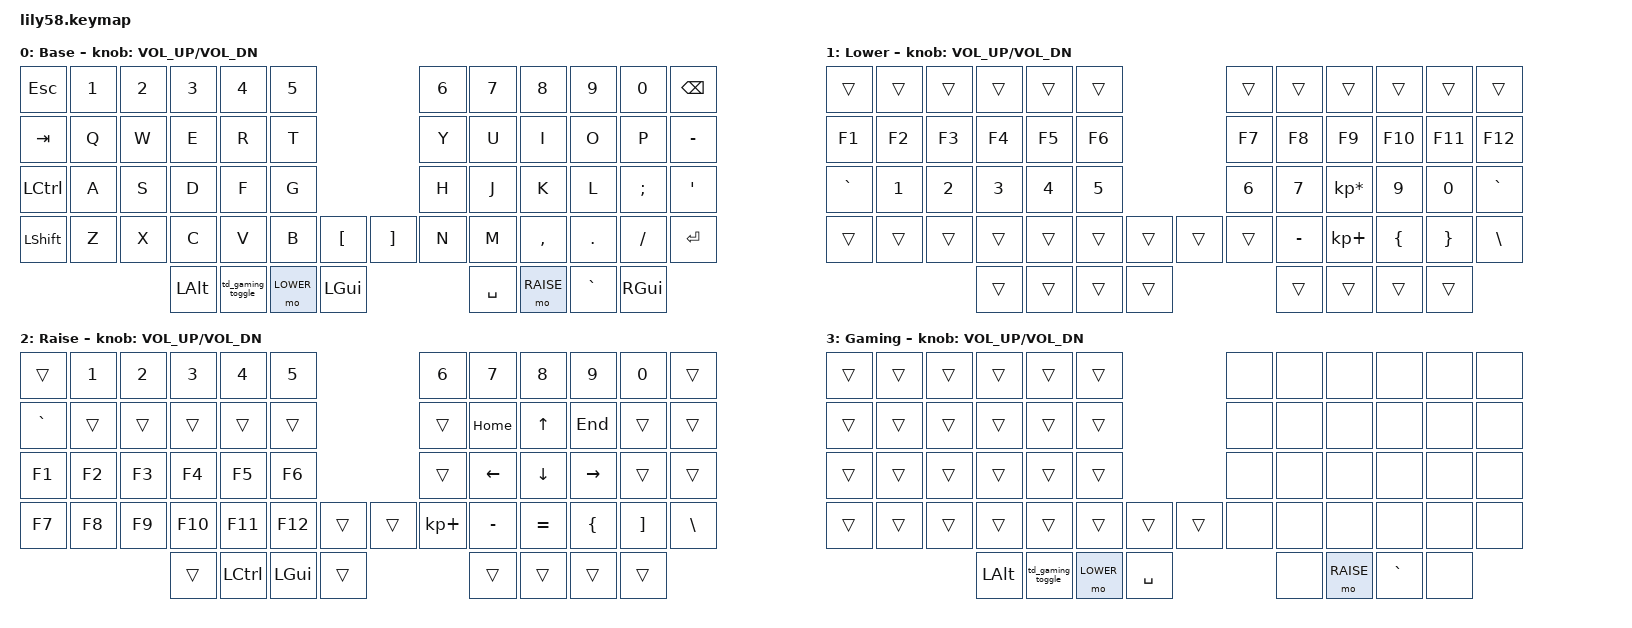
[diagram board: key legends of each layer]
/*
 * Copyright (c) 2020 The ZMK Contributors
 *
 * SPDX-License-Identifier: MIT
 */

#include <behaviors.dtsi>
#include <dt-bindings/zmk/bt.h>
#include <dt-bindings/zmk/keys.h>

#define BASE    0
#define LOWER   1
#define RAISE   2
#define GAMING  3

/ {
    behaviors {
        td_gaming_toggle: gaming_toggle_tap_dance {
            compatible = "zmk,behavior-tap-dance";
            #binding-cells = <0>;
            tapping-term-ms = <400>;
            bindings = <&none>, <&tog 3>;
        };
    };

    combos {
        compatible = "zmk,combos";

        // Lower + GUI: both left-thumb keys (central half, no split delay)
        combo_gaming_toggle {
            timeout-ms = <500>;
            key-positions = <52 53>;
            bindings = <&tog 3>;
        };
    };

    keymap {
        compatible = "zmk,keymap";

        default_layer {
            // ------------------------------------------------------------------------------------------------------------
            // |  ESC  |  1  |  2  |  3   |  4   |  5   |                   |  6   |  7    |  8    |  9   |   0   | BkSp  |
            // |  TAB  |  Q  |  W  |  E   |  R   |  T   |                   |  Y   |  U    |  I    |  O   |   P   |   -   |
            // |  CTRL |  A  |  S  |  D   |  F   |  G   |                   |  H   |  J    |  K    |  L   |   ;   |   '   |
            // |  SHFT |  Z  |  X  |  C   |  V   |  B   |   {    |    }   |  N   |  M    |  ,    |  .   |   /   |  RET  |
            //                     | ALT  | G×2  | Lower|  CMD   |  | SPACE | Raise |   ~   |  GUI  |

            display-name = "Base";
            bindings = <
&kp ESC    &kp N1  &kp N2  &kp N3    &kp N4    &kp N5                          &kp N6  &kp N7     &kp N8     &kp N9   &kp N0    &kp BACKSPACE
&kp TAB    &kp Q   &kp W   &kp E     &kp R     &kp T                           &kp Y   &kp U      &kp I      &kp O    &kp P     &kp MINUS
&kp LCTRL  &kp A   &kp S   &kp D     &kp F     &kp G                           &kp H   &kp J      &kp K      &kp L    &kp SEMI  &kp SQT
&kp LSHFT  &kp Z   &kp X   &kp C     &kp V     &kp B   &kp LBKT     &kp RBKT   &kp N   &kp M      &kp COMMA  &kp DOT  &kp FSLH  &kp RET
                           &kp LALT  &td_gaming_toggle  &mo LOWER   &kp LGUI     &kp SPACE  &mo RAISE   &kp GRAVE  &kp RGUI
            >;

            sensor-bindings = <&inc_dec_kp C_VOL_UP C_VOL_DN>;
        };

        lower_layer {
            // ------------------------------------------------------------------------------------------------------------
            // |       |     |     |      |      |      |                   |      |       |       |      |       |       |
            // |  F1   |  F2 |  F3 |  F4  |  F5  |  F6  |                   |  F7  |  F8   |  F9   |  F10 |  F11  |  F12  |
            // |   `   |  1  |  2  |  3   |  4   |  5   |                   |  6   |  7    |   *   |  9   |   0   |   `   |
            // |       |     |     |      |      |      |        |  |       |      |   -   |   +   |  {   |   }   |   \   |
            //                     |      |      |      |        |  |       |      |       |       |

            display-name = "Lower";
            bindings = <
&trans     &trans  &trans  &trans   &trans   &trans                     &trans       &trans     &trans     &trans    &trans     &trans
&kp F1     &kp F2  &kp F3  &kp F4   &kp F5   &kp F6                     &kp F7       &kp F8     &kp F9     &kp F10   &kp F11    &kp F12
&kp GRAVE  &kp N1  &kp N2  &kp N3   &kp N4   &kp N5                     &kp N6       &kp N7     &kp KP_MULTIPLY &kp N9 &kp N0  &kp GRAVE
&trans     &trans  &trans  &trans   &trans   &trans    &trans    &trans &trans       &kp MINUS  &kp KP_PLUS &kp LBRC &kp RBRC   &kp BSLH
                           &trans   &trans   &trans   &trans    &trans  &trans       &trans     &trans
            >;

            sensor-bindings = <&inc_dec_kp C_VOL_UP C_VOL_DN>;
        };

        raise_layer {
            // ------------------------------------------------------------------------------------------------------------
            // |       |  1  |  2  |  3   |  4   |  5   |                   |  6   |  7    |  8    |  9   |   0   |       |
            // |   `   |     |     |      |      |      |                   |      | Home  |   Up  | End  |       |       |
            // |  F1   |  F2 |  F3 |  F4  |  F5  |  F6  |                   |      |  Left |  Down | Right|       |       |
            // |  F7   |  F8 |  F9 |  F10 |  F11 |  F12 |        |  |       |  +   |   -   |   =   |  {   |   }   |   \   |
            //                     |      | CTRL |  CMD |        |  |       |      |       |       |

            display-name = "Raise";
            bindings = <
&trans     &kp N1  &kp N2  &kp N3   &kp N4   &kp N5                     &kp N6       &kp N7     &kp N8     &kp N9    &kp N0     &trans
&kp GRAVE  &trans  &trans  &trans   &trans   &trans                     &trans       &kp HOME   &kp UP     &kp END   &trans     &trans
&kp F1     &kp F2  &kp F3  &kp F4   &kp F5   &kp F6                     &trans       &kp LEFT   &kp DOWN   &kp RIGHT &trans     &trans
&kp F7     &kp F8  &kp F9  &kp F10  &kp F11  &kp F12  &trans    &trans  &kp KP_PLUS  &kp MINUS  &kp EQUAL  &kp LBRC  &kp RBKT   &kp BSLH
                           &trans   &kp LCTRL &kp LGUI &trans    &trans  &trans       &trans     &trans
            >;

            sensor-bindings = <&inc_dec_kp C_VOL_UP C_VOL_DN>;
        };

        gaming_layer {
            // Left hand mirrors base (via &trans); right hand disabled.
            // Thumbs: Alt | G×2 | Lower | Space
            display-name = "Gaming";
            bindings = <
&trans     &trans  &trans  &trans   &trans   &trans                     &none  &none  &none  &none  &none  &none
&trans     &trans  &trans  &trans   &trans   &trans                     &none  &none  &none  &none  &none  &none
&trans     &trans  &trans  &trans   &trans   &trans                     &none  &none  &none  &none  &none  &none
&trans     &trans  &trans  &trans   &trans   &trans    &trans    &trans  &none  &none  &none  &none  &none  &none
                           &kp LALT  &td_gaming_toggle  &mo LOWER  &kp SPACE    &none  &mo RAISE  &kp GRAVE  &none
            >;

            sensor-bindings = <&inc_dec_kp C_VOL_UP C_VOL_DN>;
        };

        extra_2 { status = "reserved"; };

        extra_3 { status = "reserved"; };
    };
};
